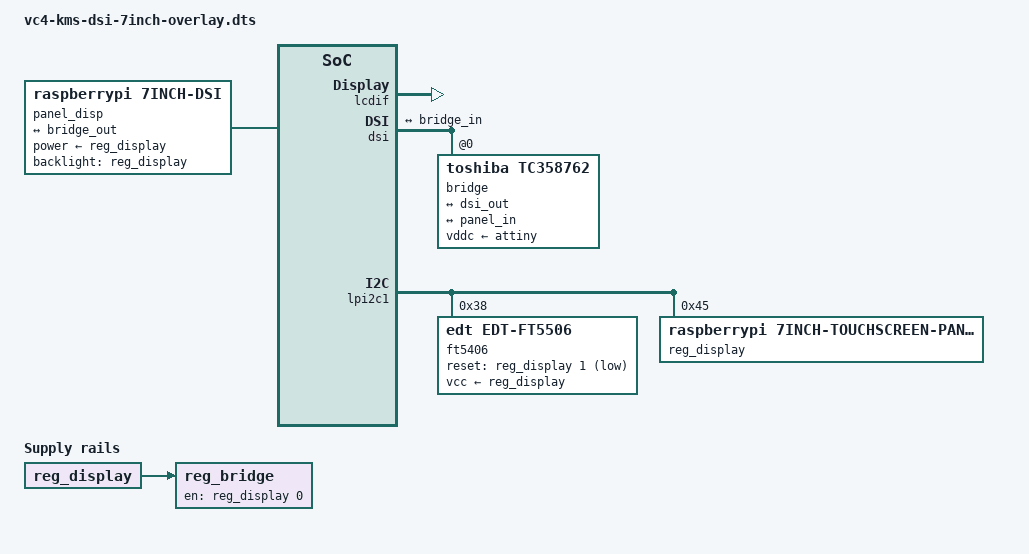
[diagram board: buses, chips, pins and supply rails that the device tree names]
/*
 * Device Tree overlay for Waveshare 4.3" DSI LCD
 * with Touchscreen controller, compatible with
 * Arduino Nextenta CM4 based on
 * NXP i.MX93, tested using
 * Raspberry Pi Compute Module 4 IO Board carrier
 */

/dts-v1/;
/plugin/;

#include "imx93-pinfunc.h"
#include <dt-bindings/gpio/gpio.h>

/ {
	fragment@0 {
		target = <&lcdif>;
		__overlay__ {
			status = "okay";
		};
	};

	fragment@1 {
		target = <&dsi>;
		__overlay__ {
			#address-cells = <1>;
			#size-cells = <0>;
			status = "okay";

			bridge@0 {
				compatible = "toshiba,tc358762";
				reg = <0>;
				vddc-supply = <&attiny>;

				ports {
					#address-cells = <1>;
					#size-cells = <0>;

					port@0 {
						reg = <0>;

						bridge_in: endpoint {
							remote-endpoint = <&dsi_out>;
						};
					};

					port@1 {
						reg = <1>;

						bridge_out: endpoint {
							remote-endpoint = <&panel_in>;
						};
					};
				};
			};

			ports {
				#address-cells = <1>;
				#size-cells = <0>;

				port@1 {
					reg = <1>;

					dsi_out: endpoint {
						remote-endpoint = <&bridge_in>;
					};
				};
			};
		};
	};

	fragment@2 {
		target-path = "/";
		__overlay__ {
			panel_disp: panel_disp@1 {
				reg = <1>;
				compatible = "raspberrypi,7inch-dsi", "simple-panel";
				backlight = <&reg_display>;
				power-supply = <&reg_display>;

				port {
					panel_in: endpoint {
						remote-endpoint = <&bridge_out>;
					};
				};
			};

			reg_bridge: reg_bridge@1 {
				reg = <1>;
				compatible = "regulator-fixed";
				regulator-name = "bridge_reg";
				gpio = <&reg_display 0 0>;
				vin-supply = <&reg_display>;
				enable-active-high;
			};
		};
	};

	fragment@3 {
		target = <&lpi2c1>;
		__overlay__ {
			#address-cells = <1>;
			#size-cells = <0>;
			status = "okay";

			ft5406: ts@38 {
				compatible = "edt,edt-ft5506";
				reg = <0x38>;
				vcc-supply = <&reg_display>;
				reset-gpio = <&reg_display 1 1>;

				touchscreen-size-x = <800>;
				touchscreen-size-y = <480>;
				touchscreen-inverted-x;
				touchscreen-inverted-y;
			};

			reg_display: reg_display@45 {
				compatible = "raspberrypi,7inch-touchscreen-panel-regulator";
				reg = <0x45>;
				gpio-controller;
				#gpio-cells = <2>;
			};
		};
	};
};
